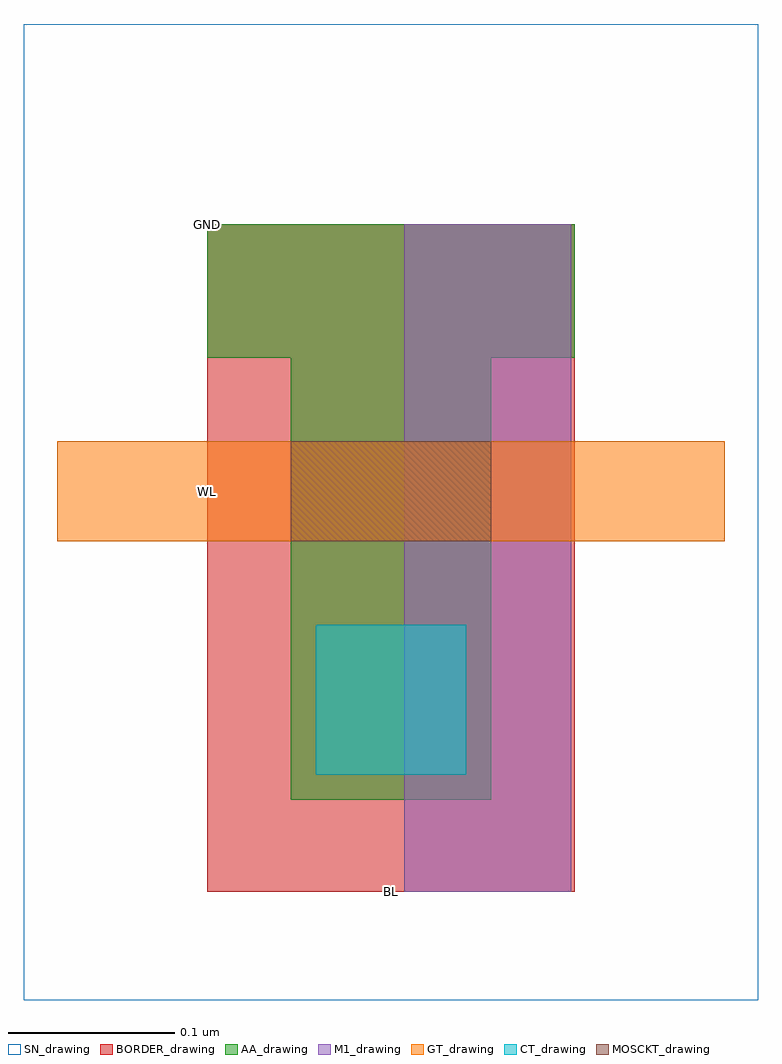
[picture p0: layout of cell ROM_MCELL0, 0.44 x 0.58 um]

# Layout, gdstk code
import gdstk
lib = gdstk.Library(unit=1e-6, precision=1e-09)
def R(c, l, rs):  # rectangles x0, y0, x1, y1
    for r in rs: c.add(gdstk.rectangle(r[:2], r[2:], *l))
AA_drawing = (10, 0)
GT_drawing = (30, 0)
SN_drawing = (40, 0)
CT_drawing = (50, 0)
M1_drawing = (61, 0)
BORDER_drawing = (128, 0)
MOSCKT_drawing = (131, 2)

rom_mcell0 = lib.new_cell('ROM_MCELL0')
R(rom_mcell0, AA_drawing, [(0.05,0.055,0.17,0.21), (0.05,0.21,0.17,0.27), (0.05,0.27,0.17,0.368), (0,0.32,0.22,0.4)])
R(rom_mcell0, GT_drawing, [(-0.09,0.21,0.31,0.27), (0.05,0.21,0.17,0.27)])
R(rom_mcell0, SN_drawing, [(-0.11,-0.065,0.33,0.52)])
R(rom_mcell0, CT_drawing, [(0.065,0.07,0.155,0.16)])
R(rom_mcell0, M1_drawing, [(0.118,0,0.218,0.4)])
R(rom_mcell0, BORDER_drawing, [(0,0,0.22,0.4)])
R(rom_mcell0, MOSCKT_drawing, [(0.05,0.21,0.17,0.27)])
rom_mcell0.add(gdstk.Label('BL', (0.11,0), layer=141, texttype=0))
rom_mcell0.add(gdstk.Label('GND', (0,0.4), layer=162, texttype=0))
rom_mcell0.add(gdstk.Label('WL', (0,0.24), layer=63, texttype=63))

lib.write_gds('ROM_MCELL0.gds')
